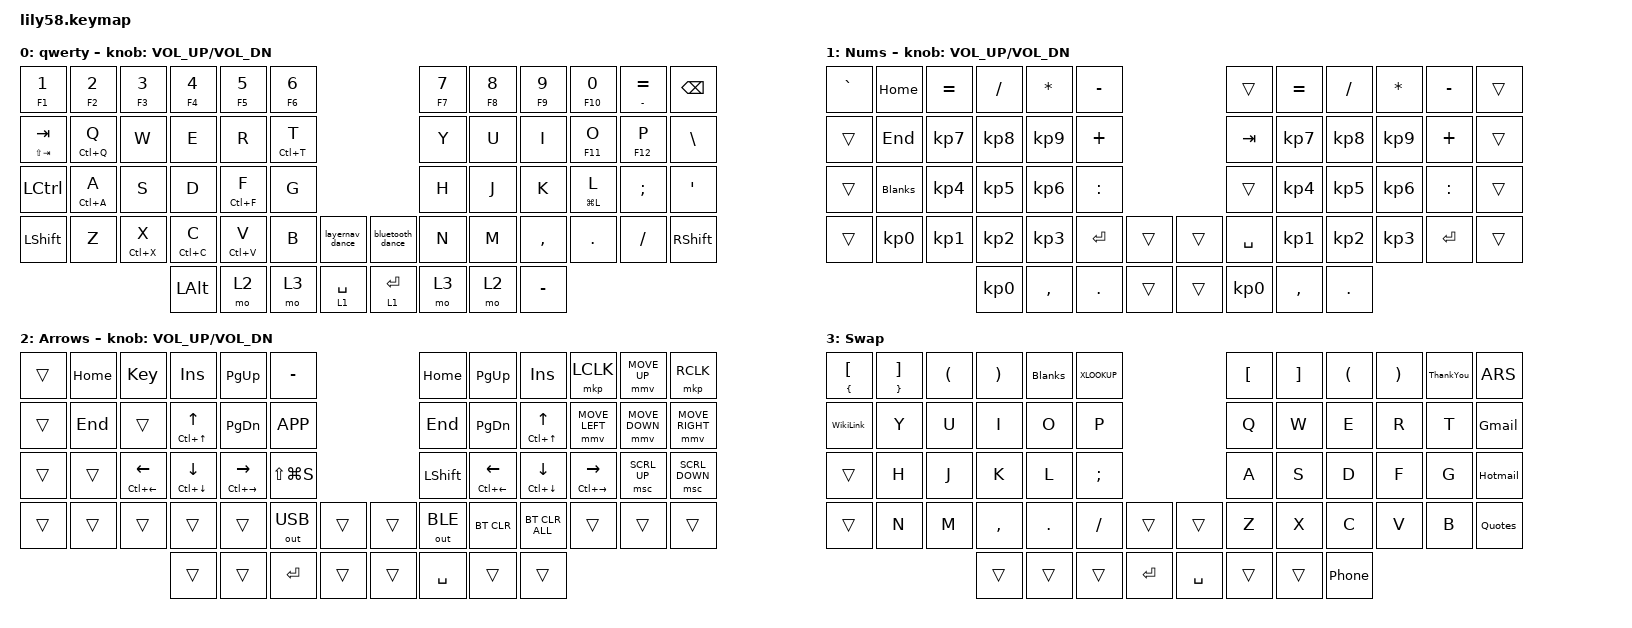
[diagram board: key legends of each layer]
/*
 * Copyright (c) 2020 The ZMK Contributors
 *
 * SPDX-License-Identifier: MIT
 */

#define ZMK_POINTING_DEFAULT_MOVE_VAL 1500  // default: 600
#define ZMK_POINTING_DEFAULT_SCRL_VAL 20

#include <dt-bindings/zmk/mouse.h>
#include <behaviors.dtsi>
#include <dt-bindings/zmk/bt.h>
#include <dt-bindings/zmk/keys.h>
#include <dt-bindings/zmk/outputs.h>
#include <dt-bindings/zmk/pointing.h>

/ {
    combos {
        compatible = "zmk,combos";

        combo_escape_right {
            bindings = <&kp ESCAPE>;
            key-positions = <30 31>;
            timeout-ms = <50>;
        };

        combo_backspace_right {
            bindings = <&kp BACKSPACE>;
            key-positions = <32 31>;
            timeout-ms = <50>;
        };

        combo_backspace_left {
            bindings = <&kp BACKSPACE>;
            key-positions = <28 27>;
            timeout-ms = <50>;
        };

        combo_escape_left {
            bindings = <&kp ESCAPE>;
            key-positions = <28 29>;
            timeout-ms = <50>;
        };

        combo_delete_right {
            bindings = <&kp DELETE>;
            key-positions = <33 34>;
            timeout-ms = <50>;
        };

        combo_delete_left {
            bindings = <&kp DELETE>;
            key-positions = <25 26>;
            timeout-ms = <50>;
        };

        combo_numlock_right {
            bindings = <&kp KP_NUMLOCK>;
            key-positions = <6 7>;
        };

        combo_capslock_right {
            bindings = <&kp CAPSLOCK>;
            key-positions = <8 9>;
        };

        combo_windows_paste_left {
            bindings = <&kp LG(V)>;
            key-positions = <40 41>;
        };

        combo_control_backspace_left {
            bindings = <&kp LC(BACKSPACE)>;
            key-positions = <40 39>;
        };

        combo_control_delete_left {
            bindings = <&kp LC(DELETE)>;
            key-positions = <38 37>;
        };

        combo_control_alt_delete_left {
            bindings = <&kp LA(LC(DELETE))>;
            key-positions = <49 48>;
            layers = <0>;
        };

        combo_amperstand_left {
            bindings = <&kp AMPS>;
            key-positions = <41 29>;
            layers = <0>;
        };

        combo_asterik_left {
            bindings = <&kp ASTERISK>;
            key-positions = <40 28>;
            layers = <0>;
        };

        combo_control_backspace_right {
            bindings = <&kp LC(BACKSPACE)>;
            key-positions = <11 10>;
        };

        combo_pipe_left {
            bindings = <&kp PIPE>;
            key-positions = <38 26>;
            layers = <0>;
        };

        combo_colon_left {
            bindings = <&kp COLON>;
            key-positions = <27 39>;
            layers = <0>;
        };

        combo_minus_left {
            bindings = <&kp MINUS>;
            key-positions = <29 17>;
            layers = <0>;
        };

        combo_backslash_left {
            bindings = <&kp NON_US_BACKSLASH>;
            key-positions = <15 27>;
            layers = <0>;
        };

        combo_forwardslash_left {
            bindings = <&kp SLASH>;
            key-positions = <16 28>;
            layers = <0>;
        };

        combo_equals_left {
            bindings = <&kp EQUAL>;
            key-positions = <5 17>;
            layers = <0>;
        };

        combo_plus_left {
            bindings = <&kp PLUS>;
            key-positions = <4 16>;
            layers = <0>;
        };

        combo_semicolon_left {
            bindings = <&kp SEMICOLON>;
            key-positions = <3 15>;
            layers = <0>;
        };

        combo_lessthan_left {
            bindings = <&kp LESS_THAN>;
            key-positions = <13 25>;
            layers = <0>;
        };

        combo_greaterthan_left {
            bindings = <&kp GREATER_THAN>;
            key-positions = <14 26>;
            layers = <0>;
        };

        combo_backtick_left {
            bindings = <&kp GRAVE>;
            key-positions = <25 37>;
            layers = <0>;
        };

        combo_underscore_left {
            bindings = <&kp UNDER>;
            key-positions = <1 13>;
            layers = <0>;
        };

        combo_gui_left {
            bindings = <&kp LEFT_WIN>;
            key-positions = <39 38>;
        };

        combo_quote_left {
            bindings = <&kp DOUBLE_QUOTES>;
            key-positions = <2 14>;
            layers = <0>;
        };

        combo_approx_left {
            bindings = <&kp TILDE>;
            key-positions = <0 12>;
            layers = <0>;
        };
    };

    behaviors {
        hold_tap: hold_tap {
            compatible = "zmk,behavior-hold-tap";
            label = "HOLD_TAP";
            bindings = <&kp>, <&kp>;

            #binding-cells = <2>;
            tapping-term-ms = <280>;
            quick-tap-ms = <175>;
            require-prior-idle-ms = <150>;
            flavor = "balanced";
            hold-trigger-key-positions = <53 54 42 43 52 51 50 55 56 57 24 12 36 49>;
        };

        layernav_dance: layernav_dance {
            compatible = "zmk,behavior-tap-dance";
            label = "LAYERNAV_DANCE";
            #binding-cells = <0>;
            bindings = <&to 0>, <&to 1>, <&to 2>;

            tapping-term-ms = <280>;
        };

        bluetooth_dance: bluetooth_dance {
            compatible = "zmk,behavior-tap-dance";
            label = "BLUETOOTH_DANCE";
            #binding-cells = <0>;
            bindings = <&bt BT_SEL 0>, <&bt BT_SEL 1>, <&bt BT_SEL 2>;
        };

        holdmo_tap: holdmo_tap {
            compatible = "zmk,behavior-hold-tap";
            label = "HOLDMO_TAP";
            bindings = <&mo>, <&kp>;

            #binding-cells = <2>;
            tapping-term-ms = <250>;
            quick-tap-ms = <150>;
            require-prior-idle-ms = <115>;
            flavor = "balanced";
        };
    };

    macros {
        XLOOKUP: XLOOKUP {
            compatible = "zmk,behavior-macro";
            #binding-cells = <0>;
            bindings = <&kp EQUAL &kp LS(X) &kp LS(L) &kp LS(O) &kp LS(O) &kp LS(K) &kp LS(U) &kp LS(P) &kp LPAR>;
            label = "XLOOKUP";
        };

        WikiLink: WikiLink {
            compatible = "zmk,behavior-macro";
            #binding-cells = <0>;
            bindings = <&kp LBKT &kp LBKT>;
            label = "WIKILINK";
        };

        ARS: ARS {
            compatible = "zmk,behavior-macro";
            #binding-cells = <0>;
            bindings = <&kp LS(A) &kp M &kp B &kp E &kp R &kp SPACE &kp LS(R) &kp DOT &kp SPACE &kp LS(S) &kp T &kp A &kp N &kp T &kp O &kp N>;
            label = "ARS";
        };

        ThankYou: ThankYou {
            compatible = "zmk,behavior-macro";
            #binding-cells = <0>;
            bindings = <&kp LS(T) &kp H &kp A &kp N &kp K &kp SPACE &kp Y &kp O &kp U &kp EXCL>;
            label = "THANKYOU";
        };

        Quotes: Quotes {
            compatible = "zmk,behavior-macro";
            #binding-cells = <0>;
            bindings = <&kp DQT &kp DQT &kp LEFT>;
            label = "QUOTES";
        };

        Hotmail: Hotmail {
            compatible = "zmk,behavior-macro";
            #binding-cells = <0>;
            bindings = <&kp A &kp M &kp B &kp E &kp R &kp R &kp S &kp T &kp A &kp N &kp T &kp O &kp N &kp AT &kp H &kp O &kp T &kp M &kp A &kp I &kp L &kp DOT &kp C &kp O &kp M>;
            label = "HOTMAIL";
        };

        Gmail: Gmail {
            compatible = "zmk,behavior-macro";
            #binding-cells = <0>;
            bindings = <&kp A &kp M &kp B &kp E &kp R &kp R &kp S &kp T &kp A &kp N &kp T &kp O &kp N &kp AT &kp G &kp M &kp A &kp I &kp L &kp DOT &kp C &kp O &kp M>;
            label = "GMAIL";
        };

        Phone: Phone {
            compatible = "zmk,behavior-macro";
            #binding-cells = <0>;
            bindings = <&kp N6 &kp N0 &kp N6 &kp N8 &kp N7 &kp N5 &kp N6 &kp N0 &kp N6 &kp N1>;
            label = "PHONE";
        };

        Blanks: Blanks {
            compatible = "zmk,behavior-macro";
            #binding-cells = <0>;
            bindings =
                <&kp LC(G)>,
                <&macro_wait_time 100>,
                <&kp TAB &kp TAB &kp ENTER>,
                <&macro_wait_time 100>,
                <&kp K &kp ENTER>;

            label = "BLANKS";
        };

        Key: Key {
            compatible = "zmk,behavior-macro";
            #binding-cells = <0>;
            bindings = <&kp N &kp A &kp T &kp H &kp A &kp N &kp N3 &kp AT &kp A &kp LS(R) &kp S &kp N1 &kp N9 &kp N8 &kp N9>;
            label = "Key";
        };
    };

    keymap {
        compatible = "zmk,keymap";

        qwerty {
            label = "qwerty";
            bindings = <
&hold_tap F1 NUMBER_1  &hold_tap F2 NUMBER_2  &hold_tap F3 NUMBER_3  &hold_tap F4 NUMBER_4  &hold_tap F5 N5    &hold_tap F6 NUMBER_6                                              &hold_tap F7 N7  &hold_tap F8 N8  &hold_tap F9 N9  &hold_tap F10 N0   &hold_tap MINUS EQUAL  &kp BACKSPACE
&hold_tap LS(TAB) TAB  &hold_tap LC(Q) Q      &kp W                  &kp E                  &kp R              &hold_tap LC(T) T                                                  &kp Y            &kp U            &kp I            &hold_tap F11 O    &hold_tap F12 P        &kp BSLH
&kp LEFT_CONTROL       &hold_tap LC(A) A      &kp S                  &kp D                  &hold_tap LC(F) F  &kp G                                                              &kp H            &kp J            &kp K            &hold_tap LG(L) L  &kp SEMI               &kp SQT
&kp LEFT_SHIFT         &kp Z                  &hold_tap LC(X) X      &hold_tap LC(C) C      &hold_tap LC(V) V  &kp B                  &layernav_dance        &bluetooth_dance     &kp N            &kp M            &kp COMMA        &kp DOT            &kp FSLH               &kp RSHFT
                                                                     &kp LALT               &mo 2              &mo 3                  &holdmo_tap 1 SPACE    &holdmo_tap 1 ENTER  &mo 3            &mo 2            &kp MINUS
            >;

            sensor-bindings = <&inc_dec_kp C_VOL_UP C_VOL_DN>;
        };

        Nums {
            label = "Nums";
            bindings = <
&kp GRAVE  &kp HOME         &kp EQUAL        &kp SLASH        &kp ASTERISK     &kp MINUS                     &trans           &kp EQUAL        &kp SLASH        &kp ASTERISK     &kp MINUS  &trans
&trans     &kp END          &kp KP_NUMBER_7  &kp KP_NUMBER_8  &kp KP_NUMBER_9  &kp PLUS                      &kp TAB          &kp KP_NUMBER_7  &kp KP_NUMBER_8  &kp KP_NUMBER_9  &kp PLUS   &trans
&trans     &Blanks          &kp KP_NUMBER_4  &kp KP_NUMBER_5  &kp KP_NUMBER_6  &kp COLON                     &trans           &kp KP_NUMBER_4  &kp KP_NUMBER_5  &kp KP_NUMBER_6  &kp COLON  &trans
&trans     &kp KP_NUMBER_0  &kp KP_NUMBER_1  &kp KP_NUMBER_2  &kp KP_NUMBER_3  &kp ENTER   &trans    &trans  &kp SPACE        &kp KP_N1        &kp KP_NUMBER_2  &kp KP_NUMBER_3  &kp ENTER  &trans
                                             &kp KP_NUMBER_0  &kp COMMA        &kp PERIOD  &trans    &trans  &kp KP_NUMBER_0  &kp COMMA        &kp PERIOD
            >;

            sensor-bindings = <&inc_dec_kp C_VOL_UP C_VOL_DN>;
        };

        Arrows {
            label = "Arrows";
            bindings = <
&trans  &kp HOME  &Key                     &kp INSERT                       &kp PAGE_UP                &kp MINUS                        &kp HOME        &kp PG_UP                &kp INSERT                           &mkp LCLK                        &mmv MOVE_UP    &mkp RCLK
&trans  &kp END   &trans                   &hold_tap LC(UP_ARROW) UP_ARROW  &kp PAGE_DOWN              &kp K_APP                        &kp END         &kp PAGE_DOWN            &hold_tap LC(UP_ARROW) UP_ARROW      &mmv MOVE_LEFT                   &mmv MOVE_DOWN  &mmv MOVE_RIGHT
&trans  &trans    &hold_tap LC(LEFT) LEFT  &hold_tap LC(DOWN) DOWN          &hold_tap LC(RIGHT) RIGHT  &kp LS(LG(S))                    &kp LEFT_SHIFT  &hold_tap LC(LEFT) LEFT  &hold_tap LC(DOWN_ARROW) DOWN_ARROW  &hold_tap LC(RIGHT_ARROW) RIGHT  &msc SCRL_UP    &msc SCRL_DOWN
&trans  &trans    &trans                   &trans                           &trans                     &out OUT_USB   &trans    &trans  &out OUT_BLE    &bt BT_CLR               &bt BT_CLR_ALL                       &trans                           &trans          &trans
                                           &trans                           &trans                     &kp ENTER      &trans    &trans  &kp SPACE       &trans                   &trans
            >;

            sensor-bindings = <&inc_dec_kp C_VOL_UP C_VOL_DN>;
        };

        Swap {
            bindings = <
&hold_tap LEFT_BRACE LEFT_BRACKET  &hold_tap RIGHT_BRACE RIGHT_BRACKET  &kp LEFT_PARENTHESIS  &kp RIGHT_PARENTHESIS  &Blanks  &XLOOKUP                          &kp LBKT  &kp RBKT  &kp LEFT_PARENTHESIS  &kp RIGHT_PARENTHESIS  &ThankYou  &ARS
&WikiLink                          &kp Y                                &kp U                 &kp I                  &kp O    &kp P                             &kp Q     &kp W     &kp E                 &kp R                  &kp T      &Gmail
&trans                             &kp H                                &kp J                 &kp K                  &kp L    &kp SEMI                          &kp A     &kp S     &kp D                 &kp F                  &kp G      &Hotmail
&trans                             &kp N                                &kp M                 &kp COMMA              &kp DOT  &kp FSLH  &trans       &trans     &kp Z     &kp X     &kp C                 &kp V                  &kp B      &Quotes
                                                                                              &trans                 &trans   &trans    &kp ENTER    &kp SPACE  &trans    &trans    &Phone
            >;

            label = "Swap";
        };
    };
};
